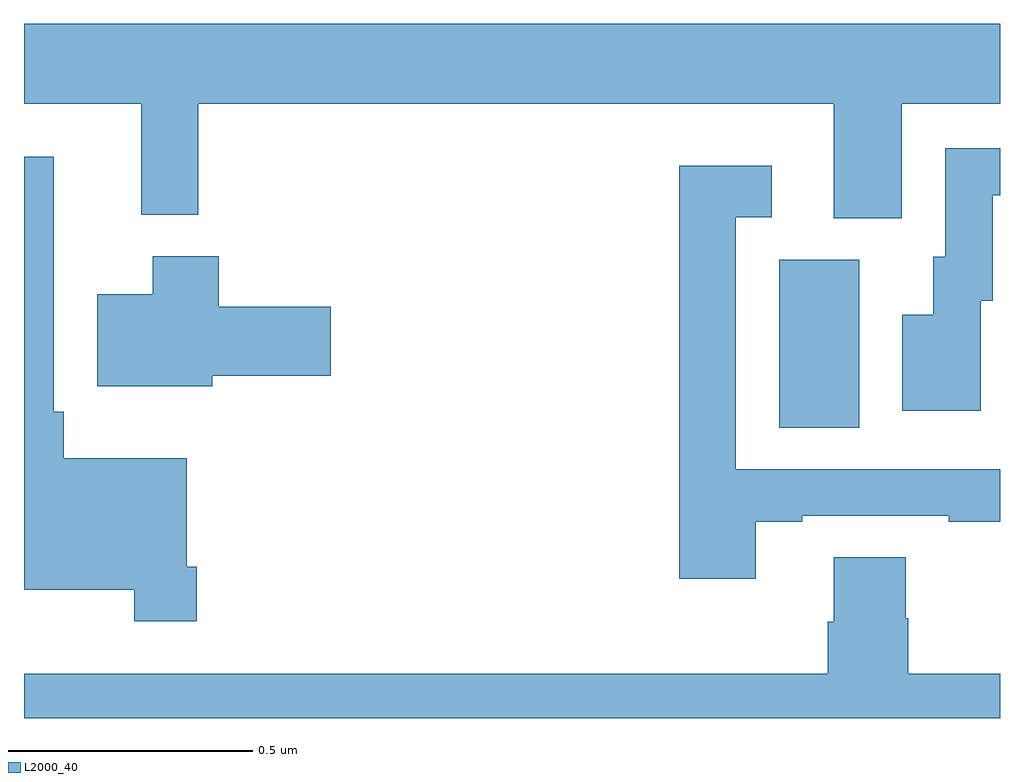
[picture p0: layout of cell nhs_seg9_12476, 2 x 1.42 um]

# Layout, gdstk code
import gdstk
lib = gdstk.Library(unit=1e-6, precision=1e-09)
def R(c, l, rs):  # rectangles x0, y0, x1, y1
    for r in rs: c.add(gdstk.rectangle(r[:2], r[2:], *l))
def P(c, l, *ps):  # polygons
    for p in ps: c.add(gdstk.Polygon(p, *l))
L2000_40 = (2000, 40)

nhs_seg9_12476 = lib.new_cell('nhs_seg9_12476')
R(nhs_seg9_12476, L2000_40, [(270.548,1189.096,270.712,1189.44)])
P(nhs_seg9_12476, L2000_40, [(270.799,1189.76),(271,1189.76),(271,1189.924),(269,1189.924),(269,1189.76),(269.24,1189.76),(269.24,1189.532),(269.357,1189.532),(269.357,1189.76),(270.659,1189.76),(270.659,1189.525),(270.799,1189.525)],
  [(270.961,1189.356),(270.985,1189.356),(270.985,1189.572),(271,1189.572),(271,1189.668),(270.888,1189.668),(270.888,1189.446),(270.863,1189.446),(270.863,1189.327),(270.8,1189.327),(270.8,1189.131),(270.961,1189.131)],
  [(269.354,1188.811),(269.334,1188.811),(269.334,1189.033),(269.081,1189.033),(269.081,1189.129),(269.061,1189.129),(269.061,1189.651),(269,1189.651),(269,1188.764),(269.226,1188.764),(269.226,1188.699),(269.354,1188.699)],
  [(270.499,1188.903),(270.595,1188.903),(270.595,1188.915),(270.895,1188.915),(270.895,1188.903),(271,1188.903),(271,1189.011),(270.459,1189.011),(270.459,1189.527),(270.532,1189.527),(270.532,1189.633),(270.343,1189.633),(270.343,1188.786),(270.499,1188.786)],
  [(269.386,1189.202),(269.629,1189.202),(269.629,1189.344),(269.399,1189.344),(269.399,1189.447),(269.264,1189.447),(269.264,1189.369),(269.15,1189.369),(269.15,1189.181),(269.386,1189.181)],
  [(271,1188.592),(270.812,1188.592),(270.812,1188.705),(270.807,1188.705),(270.807,1188.83),(270.659,1188.83),(270.659,1188.698),(270.647,1188.698),(270.647,1188.592),(269,1188.592),(269,1188.5),(271,1188.5)])

lib.write_gds('nhs_seg9_12476.gds')
